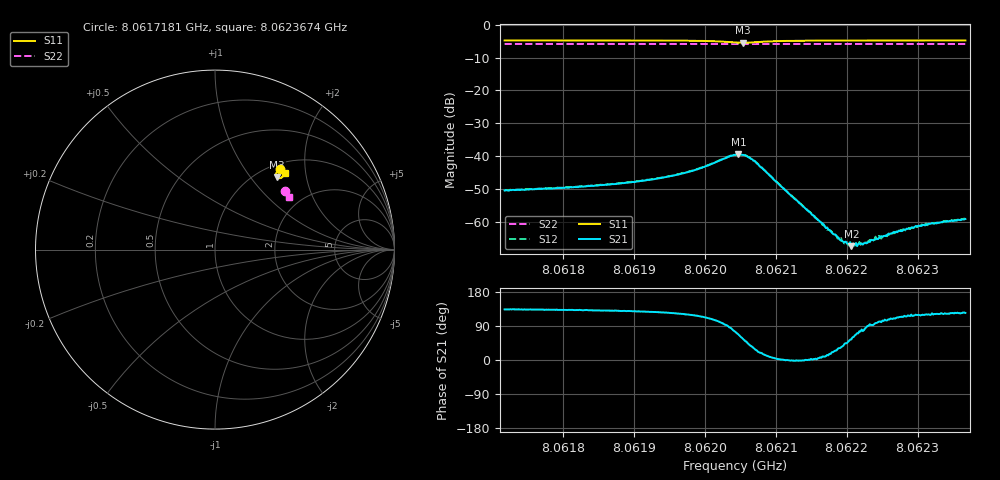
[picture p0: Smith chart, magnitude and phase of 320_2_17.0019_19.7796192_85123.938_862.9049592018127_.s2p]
#  HZ  S  RI  R  50.00
! Rohde & Schwarz Vector Network Analyzer
! Rohde-Schwarz,ZNB20-2Port,1311601062101988,3.16
! Created: UTC 3/20/2024, 11:06:23 PM
! freq[Hz]  re:S11  im:S11  re:S21  im:S21  re:S12  im:S12  re:S22  im:S22
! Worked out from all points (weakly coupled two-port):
!   401 points, 8.0617181 GHz to 8.0623674 GHz, reference 50 ohm
!   highest |S21| = -39.43 dB at 8.0620476 GHz (marker M1); lowest = -67.4 dB at 8.0622067 GHz (marker M2)
!   lowest |S11| = -5.5 dB at 8.0620541 GHz (marker M3), VSWR 3.26, Z = 61 + j68.3 ohm
!   |S11| at or under -10 dB: nowhere
!   |S22| runs from -5.9 to -5.8 dB; largest |S21 - S12| = 0.00088
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8.06171814e9  0.3595 0.45  -0.00206 0.00217  -0.00196 0.00231  0.3915 0.327
8.06182689e9  0.3669 0.4435  -0.00228 0.00258  -0.00216 0.00271  0.3957 0.3216
8.06187396e9  0.3705 0.44  -0.00243 0.00285  -0.00228 0.00306  0.3977 0.3195
8.06193563e9  0.3755 0.4339  -0.0027 0.0037  -0.00252 0.00391  0.4 0.3161
8.06198595e9  0.3799 0.4242  -0.00284 0.00541  -0.00252 0.00564  0.4017 0.3133
8.06204276e9  0.361 0.3978  0.0027 0.01  0.00331 0.00993  0.4025 0.3096
8.06204763e9  0.3548 0.3984  0.0041 0.00986  0.00478 0.0096  0.4023 0.3095
8.06205412e9  0.3466 0.4022  0.00589 0.0086  0.00651 0.00828  0.4022 0.3095
8.06206223e9  0.3401 0.4112  0.00712 0.00635  0.00763 0.00596  0.4023 0.3097
8.06207197e9  0.3392 0.4229  0.00729 0.00367  0.00741 0.00329  0.4027 0.3099
8.0621515e9  0.3678 0.4386  0.00127 2.28e-05  0.00126 -5.42e-05  0.4072 0.3063
8.06216936e9  0.371 0.4373  0.000834 0.000129  0.000845 0.000125  0.4078 0.3054
8.06218883e9  0.3735 0.4361  0.000482 0.000293  0.0005 0.00026  0.4086 0.3045
8.06219695e9  0.3745 0.4355  0.000358 0.000328  0.000367 0.000283  0.4089 0.304
8.06220669e9  0.3757 0.4349  0.000247 0.000345  0.000286 0.000327  0.4093 0.3033
8.06222616e9  0.3777 0.4337  5.28e-05 0.000472  0.000107 0.000472  0.4101 0.3025
8.06224239e9  0.3791 0.4328  -7.57e-05 0.000547  -4.34e-05 0.000558  0.4105 0.3016
8.06226025e9  0.3807 0.4316  -0.000188 0.000609  -0.000171 0.000661  0.4113 0.3007
8.06227486e9  0.3819 0.4307  -0.000291 0.000668  -0.00026 0.000677  0.4117 0.2999
8.06228622e9  0.3828 0.4303  -0.000359 0.000687  -0.000299 0.000705  0.4121 0.2994
8.06230894e9  0.3845 0.4288  -0.000428 0.000779  -0.000372 0.000788  0.413 0.298
8.06236737e9  0.3884 0.4256  -0.000622 0.000911  -0.000572 0.000929  0.4149 0.295
